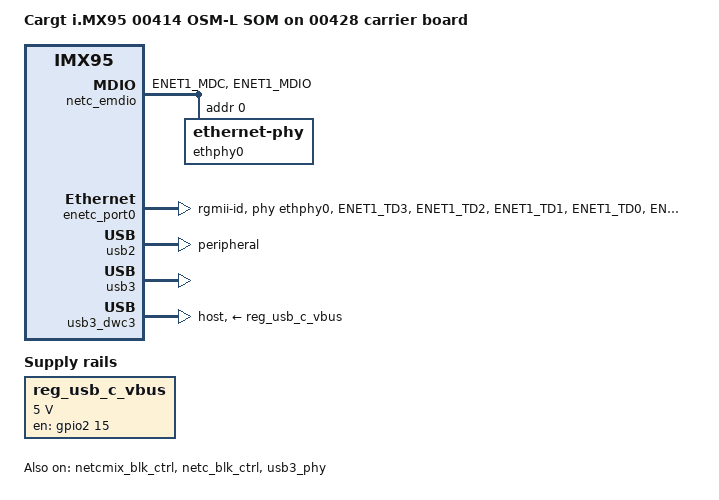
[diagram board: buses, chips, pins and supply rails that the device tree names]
// SPDX-License-Identifier: (GPL-2.0+ OR MIT)
/*
 * Copyright 2024 NXP
 * Copyright 2026 Cargt
 *
 * Cargt i.MX 95 00414 OSM-L SOM on the 00428 carrier (U-Boot).
 * Boot-relevant subset of the kernel imx95-cargt-00414-00428.dts: the
 * ETH_A RGMII port (PHY reset released by board_init()) and USB.
 */

/dts-v1/;

#include "imx95-cargt-00414-osm-som.dts"

/ {
	model = "Cargt i.MX95 00414 OSM-L SOM on 00428 carrier board";
	compatible = "cargt,imx95-00414-00428", "cargt,imx95-00414-osm-som",
		     "fsl,imx95";

	aliases {
		ethernet0 = &enetc_port0;
	};

	/* OSM USB_C VBUS (USB2_VBUS_EN on OSM UART_A_RX) */
	reg_usb_c_vbus: regulator-usb-c-vbus {
		compatible = "regulator-fixed";
		pinctrl-names = "default";
		pinctrl-0 = <&pinctrl_usb_c_vbus>;
		regulator-name = "USB2_VBUS_EN";
		regulator-min-microvolt = <5000000>;
		regulator-max-microvolt = <5000000>;
		gpio = <&gpio2 15 GPIO_ACTIVE_HIGH>;
		enable-active-high;
	};
};

&netcmix_blk_ctrl {
	status = "okay";
};

&netc_blk_ctrl {
	status = "okay";
};

/* ETH_A PHY MDIO (ENET1_MDC/MDIO) */
&netc_emdio {
	pinctrl-names = "default";
	pinctrl-0 = <&pinctrl_emdio>;
	status = "okay";

	ethphy0: ethernet-phy@0 {
		reg = <0>;
		realtek,clkout-disable;
	};
};

/* OSM ETH_A */
&enetc_port0 {
	pinctrl-names = "default";
	pinctrl-0 = <&pinctrl_enetc0>;
	phy-handle = <&ethphy0>;
	phy-mode = "rgmii-id";
	status = "okay";
};

/*
 * OSM USB_A: the USB-C connector. No TCPC handling in U-Boot, so run it as
 * a peripheral for fastboot/UUU.
 */
&usb2 {
	dr_mode = "peripheral";
	disable-over-current;
	status = "okay";
};

/* OSM USB_C: host only on the 00428 */
&usb3 {
	status = "okay";
};

&usb3_dwc3 {
	dr_mode = "host";
	vbus-supply = <&reg_usb_c_vbus>;
	status = "okay";
};

&usb3_phy {
	status = "okay";
};

&scmi_iomuxc {
	pinctrl-names = "default";
	pinctrl-0 = <&pinctrl_hog>;

	/* ETH_A_RST must be a GPIO before board_init() pulses it */
	pinctrl_hog: hoggrp {
		fsl,pins = <
			IMX95_PAD_GPIO_IO09__GPIO2_IO_BIT9			0x31e
		>;
	};

	pinctrl_emdio: emdiogrp {
		fsl,pins = <
			IMX95_PAD_ENET1_MDC__NETCMIX_TOP_NETC_MDC		0x50e
			IMX95_PAD_ENET1_MDIO__NETCMIX_TOP_NETC_MDIO		0x90e
		>;
	};

	pinctrl_enetc0: enetc0grp {
		fsl,pins = <
			IMX95_PAD_ENET1_TD3__NETCMIX_TOP_ETH0_RGMII_TD3		0x50e
			IMX95_PAD_ENET1_TD2__NETCMIX_TOP_ETH0_RGMII_TD2		0x50e
			IMX95_PAD_ENET1_TD1__NETCMIX_TOP_ETH0_RGMII_TD1		0x50e
			IMX95_PAD_ENET1_TD0__NETCMIX_TOP_ETH0_RGMII_TD0		0x50e
			IMX95_PAD_ENET1_TX_CTL__NETCMIX_TOP_ETH0_RGMII_TX_CTL	0x57e
			IMX95_PAD_ENET1_TXC__NETCMIX_TOP_ETH0_RGMII_TX_CLK	0x58e
			IMX95_PAD_ENET1_RX_CTL__NETCMIX_TOP_ETH0_RGMII_RX_CTL	0x57e
			IMX95_PAD_ENET1_RXC__NETCMIX_TOP_ETH0_RGMII_RX_CLK	0x58e
			IMX95_PAD_ENET1_RD0__NETCMIX_TOP_ETH0_RGMII_RD0		0x57e
			IMX95_PAD_ENET1_RD1__NETCMIX_TOP_ETH0_RGMII_RD1		0x57e
			IMX95_PAD_ENET1_RD2__NETCMIX_TOP_ETH0_RGMII_RD2		0x57e
			IMX95_PAD_ENET1_RD3__NETCMIX_TOP_ETH0_RGMII_RD3		0x57e
		>;
	};

	pinctrl_usb_c_vbus: usbcvbusgrp {
		fsl,pins = <
			IMX95_PAD_GPIO_IO15__GPIO2_IO_BIT15			0x31e
		>;
	};
};
